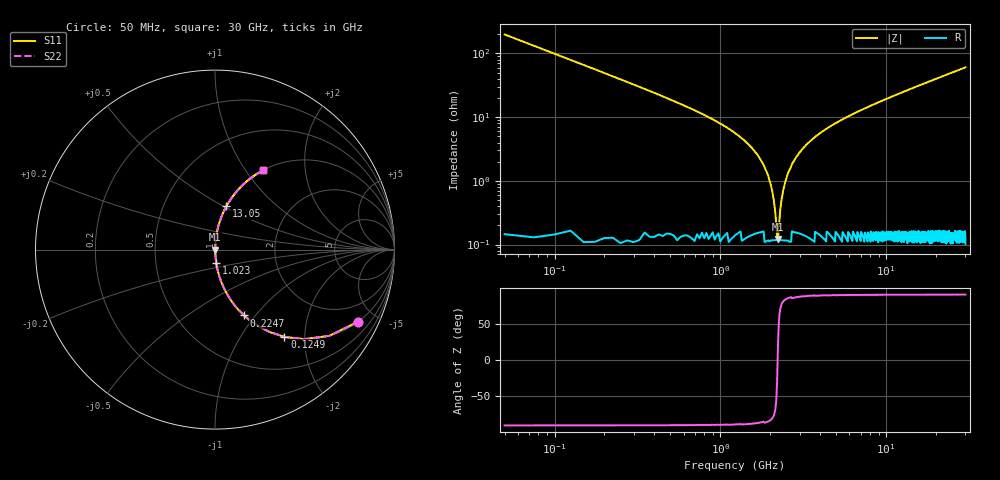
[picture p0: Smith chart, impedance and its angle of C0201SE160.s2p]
!	AVX Thin Film Operation 	Date: April 2014
!	Description: Accu-P® Series, Thin Film  SMD RF Capacitor
!	Part Number: 0201YK160FBSTR
# MHZ S MA R 50
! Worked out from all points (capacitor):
!   1201 points, 50 MHz to 30 GHz, reference 50 ohm
!   read as one part in series: C = 16 pF near 199.8 MHz
!   lowest |Z| = 122 mohm at 2.221 GHz (marker M1)
!   series resonance near 2.214 GHz, so ESL is about 320 pH
!   S11 on the Smith chart (normalised r, x): 50 MHz: 1.00, -3.98; 124.9 MHz: 1.00, -1.59; 224.7 MHz: 1.00, -0.88; 1.023 GHz: 1.00, -0.15; 13.05 GHz: 1.00, +0.51; 30 GHz: 1.00, +1.21
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50  0.893 -26.7  0.449 63.3  0.449 63.3  0.893 -26.7
124.875  0.621 -51.5  0.782 38.4  0.782 38.4  0.621 -51.5
224.708  0.401 -66.2  0.915 23.6  0.915 23.6  0.401 -66.2
424.375  0.22 -77.0  0.974 12.7  0.974 12.7  0.22 -77.0
1023.375  0.076 -84.6  0.996 4.4  0.996 4.4  0.076 -84.6
1522.542  0.034 -85.8  0.998 2.0  0.998 2.0  0.034 -85.8
1797.083  0.019 -84.8  0.998 1.1  0.998 1.1  0.019 -84.8
1971.792  0.01 -82.0  0.999 0.6  0.999 0.6  0.01 -82.0
2121.542  0.004048 -70.3  0.999 0.2  0.999 0.2  0.004048 -70.3
2221.375  0.001384 13.0  0.999 -0.0  0.999 -0.0  0.001384 13.0
2321.208  0.004467 72.2  0.999 -0.2  0.999 -0.2  0.004467 72.2
2446  0.009072 80.9  0.999 -0.5  0.999 -0.5  0.009072 80.9
2595.75  0.014 83.8  0.999 -0.8  0.999 -0.8  0.014 83.8
2995.083  0.028 85.6  0.998 -1.6  0.998 -1.6  0.028 85.6
3793.75  0.051 85.6  0.997 -2.9  0.997 -2.9  0.051 85.6
5041.667  0.082 84.3  0.995 -4.7  0.995 -4.7  0.082 84.3
10058.29  0.19 78.6  0.98 -11.0  0.98 -11.0  0.19 78.6
13053.29  0.249 75.3  0.967 -14.4  0.967 -14.4  0.249 75.3
15025  0.286 73.1  0.957 -16.6  0.957 -16.6  0.286 73.1
20016.67  0.372 68.0  0.927 -21.8  0.927 -21.8  0.372 68.0
25033.29  0.45 63.1  0.892 -26.7  0.892 -26.7  0.45 63.1
30000  0.518 58.7  0.855 -31.2  0.855 -31.2  0.518 58.7
